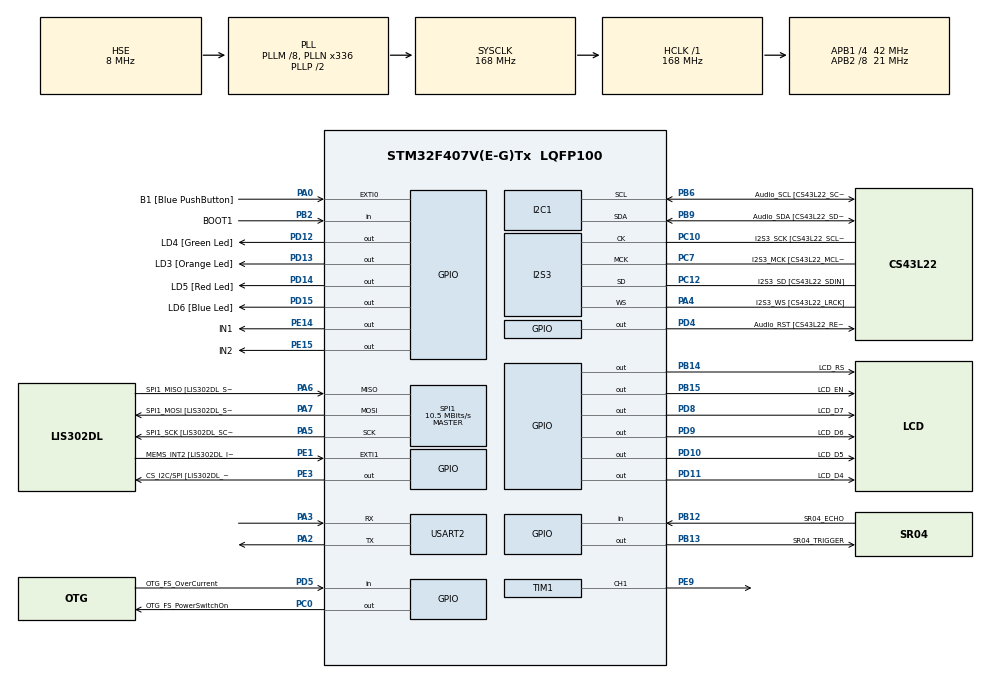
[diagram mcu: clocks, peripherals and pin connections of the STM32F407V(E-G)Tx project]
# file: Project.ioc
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I2S3.AudioFreq-Half_Duplex_Master=I2S_AUDIOFREQ_96K
I2S3.ErrorAudioFreq=-2.34 %
I2S3.ErrorAudioFreq-Half_Duplex_Master=0.8 %
I2S3.FullDuplexMode=I2S_FULLDUPLEXMODE_DISABLE
I2S3.Instance=SPI$Index
I2S3.RealAudioFreq=93.75 KHz
I2S3.RealAudioFreq-Half_Duplex_Master=96.774 KHz
I2S3.VirtualMode=I2S_MODE_MASTER
Mcu.Family=STM32F4
Mcu.Name=STM32F407V(E-G)Tx
Mcu.Package=LQFP100
NVIC.PriorityGroup=NVIC_PRIORITYGROUP_4
NVIC.TIM2_IRQn=true\:0\:0\:false\:false\:true\:false\:true
NVIC.TimeBase=TIM2_IRQn
NVIC.TimeBaseIP=TIM2
NVIC.USART2_IRQn=true\:0\:0\:false\:false\:true\:true\:true
PA0-WKUP.GPIO_Label=B1 [Blue PushButton]
PA0-WKUP.GPIO_ModeDefaultEXTI=GPIO_MODE_EVT_RISING
PA0-WKUP.GPIO_PuPd=GPIO_NOPULL
PA0-WKUP.Signal=GPXTI0
PA10.GPIO_Label=OTG_FS_ID
PA10.GPIO_Mode=GPIO_MODE_AF_PP
PA10.GPIO_PuPd=GPIO_NOPULL
PA10.GPIO_Speed=GPIO_SPEED_FREQ_LOW
PA10.Signal=USB_OTG_FS_ID
PA11.GPIO_Label=OTG_FS_DM
PA11.GPIO_Mode=GPIO_MODE_AF_PP
PA11.GPIO_PuPd=GPIO_NOPULL
PA11.GPIO_Speed=GPIO_SPEED_FREQ_LOW
PA11.Signal=USB_OTG_FS_DM
PA12.GPIO_Label=OTG_FS_DP
PA12.GPIO_Mode=GPIO_MODE_AF_PP
PA12.GPIO_PuPd=GPIO_NOPULL
PA12.GPIO_Speed=GPIO_SPEED_FREQ_LOW
PA12.Signal=USB_OTG_FS_DP
PA13.GPIO_Label=SWDIO
PA13.Mode=Serial_Wire
PA13.Signal=SYS_JTMS-SWDIO
PA14.GPIO_Label=SWCLK
PA14.Mode=Serial_Wire
PA14.Signal=SYS_JTCK-SWCLK
PA2.Mode=Asynchronous
PA2.Signal=USART2_TX
PA3.Mode=Asynchronous
PA3.Signal=USART2_RX
PA4.GPIO_Label=I2S3_WS [CS43L22_LRCK]
PA4.GPIO_Mode=GPIO_MODE_AF_PP
PA4.GPIO_PuPd=GPIO_NOPULL
PA4.GPIO_Speed=GPIO_SPEED_FREQ_LOW
PA4.Mode=Half_Duplex_Master
PA4.Signal=I2S3_WS
PA5.GPIO_Label=SPI1_SCK [LIS302DL_SCL/SPC]
PA5.GPIO_Mode=GPIO_MODE_AF_PP
PA5.GPIO_PuPd=GPIO_NOPULL
PA5.GPIO_Speed=GPIO_SPEED_FREQ_LOW
PA5.Mode=Full_Duplex_Master
PA5.Signal=SPI1_SCK
PA6.GPIO_Label=SPI1_MISO [LIS302DL_SDO]
PA6.GPIO_Mode=GPIO_MODE_AF_PP
PA6.GPIO_PuPd=GPIO_NOPULL
PA6.GPIO_Speed=GPIO_SPEED_FREQ_LOW
PA6.Mode=Full_Duplex_Master
PA6.Signal=SPI1_MISO
PA7.GPIO_Label=SPI1_MOSI [LIS302DL_SDA/SDI/SDO]
PA7.GPIO_Mode=GPIO_MODE_AF_PP
PA7.GPIO_PuPd=GPIO_NOPULL
PA7.GPIO_Speed=GPIO_SPEED_FREQ_LOW
PA7.Mode=Full_Duplex_Master
PA7.Signal=SPI1_MOSI
PA9.GPIO_Label=VBUS_FS
PA9.GPIO_Mode=GPIO_MODE_INPUT
PA9.GPIO_PuPd=GPIO_NOPULL
PA9.Signal=USB_OTG_FS_VBUS
PB10.GPIO_Label=CLK_IN [MP45DT02_CLK]
PB10.GPIO_Mode=GPIO_MODE_AF_PP
PB10.GPIO_PuPd=GPIO_NOPULL
PB10.GPIO_Speed=GPIO_SPEED_FREQ_LOW
PB10.Signal=I2S2_CK
PB12.GPIO_Label=SR04_ECHO
PB12.GPIO_PuPd=GPIO_NOPULL
PB12.Signal=GPIO_Input
PB13.GPIO_Label=SR04_TRIGGER
PB13.GPIO_PuPd=GPIO_NOPULL
PB13.GPIO_Speed=GPIO_SPEED_FREQ_HIGH
PB13.Signal=GPIO_Output
PB14.GPIO_Label=LCD_RS
PB14.Signal=GPIO_Output
PB15.GPIO_Label=LCD_EN
PB15.Signal=GPIO_Output
PB2.GPIO_Label=BOOT1
PB2.GPIO_Mode=GPIO_MODE_INPUT
PB2.GPIO_PuPd=GPIO_NOPULL
PB2.Signal=GPIO_Input
PB3.GPIO_Label=SWO
PB3.Signal=SYS_JTDO-SWO
PB6.GPIO_Label=Audio_SCL [CS43L22_SCL]
PB6.GPIO_Mode=GPIO_MODE_AF_OD
PB6.GPIO_Pu=GPIO_PULLUP
PB6.GPIO_PuPd=GPIO_NOPULL
PB6.GPIO_Speed=GPIO_SPEED_FREQ_LOW
PB6.Mode=I2C
PB6.Signal=I2C1_SCL
PB9.GPIO_Label=Audio_SDA [CS43L22_SDA]
PB9.GPIO_Mode=GPIO_MODE_AF_OD
PB9.GPIO_Pu=GPIO_PULLUP
PB9.GPIO_PuPd=GPIO_NOPULL
PB9.GPIO_Speed=GPIO_SPEED_FREQ_LOW
PB9.Mode=I2C
PB9.Signal=I2C1_SDA
PC0.GPIO_Label=OTG_FS_PowerSwitchOn
PC0.GPIO_PuPd=GPIO_NOPULL
PC0.GPIO_Speed=GPIO_SPEED_FREQ_LOW
PC0.PinState=GPIO_PIN_SET
PC0.Signal=GPIO_Output
PC10.GPIO_Label=I2S3_SCK [CS43L22_SCLK]
PC10.GPIO_Mode=GPIO_MODE_AF_PP
PC10.GPIO_PuPd=GPIO_NOPULL
PC10.GPIO_Speed=GPIO_SPEED_FREQ_LOW
PC10.Mode=Half_Duplex_Master
PC10.Signal=I2S3_CK
PC12.GPIO_Label=I2S3_SD [CS43L22_SDIN]
PC12.GPIO_Mode=GPIO_MODE_AF_PP
PC12.GPIO_PuPd=GPIO_NOPULL
PC12.GPIO_Speed=GPIO_SPEED_FREQ_LOW
PC12.Mode=Half_Duplex_Master
PC12.Signal=I2S3_SD
PC14-OSC32_IN.GPIO_Label=PC14-OSC32_IN
PC14-OSC32_IN.Mode=LSE-External-Oscillator
PC14-OSC32_IN.Signal=RCC_OSC32_IN
PC15-OSC32_OUT.GPIO_Label=PC15-OSC32_OUT
PC15-OSC32_OUT.Mode=LSE-External-Oscillator
PC15-OSC32_OUT.Signal=RCC_OSC32_OUT
PC3.GPIO_Label=PDM_OUT [MP45DT02_DOUT]
PC3.GPIO_Mode=GPIO_MODE_AF_PP
PC3.GPIO_PuPd=GPIO_NOPULL
PC3.GPIO_Speed=GPIO_SPEED_FREQ_LOW
PC3.Signal=I2S2_SD
PC7.GPIO_Label=I2S3_MCK [CS43L22_MCLK]
PC7.GPIO_Mode=GPIO_MODE_AF_PP
PC7.GPIO_PuPd=GPIO_NOPULL
PC7.GPIO_Speed=GPIO_SPEED_FREQ_LOW
PC7.Mode=Master_Clock_Activated
PC7.Signal=I2S3_MCK
PD10.GPIO_Label=LCD_D5
PD10.Signal=GPIO_Output
PD11.GPIO_Label=LCD_D4
PD11.Signal=GPIO_Output
PD12.GPIO_Label=LD4 [Green Led]
PD12.GPIO_PuPd=GPIO_NOPULL
PD12.GPIO_Speed=GPIO_SPEED_FREQ_LOW
PD12.Signal=GPIO_Output
PD13.GPIO_Label=LD3 [Orange Led]
PD13.GPIO_PuPd=GPIO_NOPULL
PD13.GPIO_Speed=GPIO_SPEED_FREQ_LOW
PD13.Signal=GPIO_Output
PD14.GPIO_Label=LD5 [Red Led]
PD14.GPIO_PuPd=GPIO_NOPULL
PD14.GPIO_Speed=GPIO_SPEED_FREQ_LOW
PD14.Signal=GPIO_Output
PD15.GPIO_Label=LD6 [Blue Led]
PD15.GPIO_PuPd=GPIO_NOPULL
PD15.GPIO_Speed=GPIO_SPEED_FREQ_LOW
PD15.Signal=GPIO_Output
PD4.GPIO_Label=Audio_RST [CS43L22_RESET]
PD4.GPIO_PuPd=GPIO_NOPULL
PD4.GPIO_Speed=GPIO_SPEED_FREQ_LOW
PD4.Signal=GPIO_Output
PD5.GPIO_Label=OTG_FS_OverCurrent
PD5.GPIO_Mode=GPIO_MODE_INPUT
PD5.GPIO_PuPd=GPIO_NOPULL
PD5.Signal=GPIO_Input
PD8.GPIO_Label=LCD_D7
PD8.Signal=GPIO_Output
PD9.GPIO_Label=LCD_D6
PD9.Signal=GPIO_Output
PE1.GPIO_Label=MEMS_INT2 [LIS302DL_INT2]
PE1.GPIO_ModeDefaultEXTI=GPIO_MODE_EVT_RISING
PE1.GPIO_PuPd=GPIO_NOPULL
PE1.Signal=GPXTI1
PE14.GPIO_Label=IN1
PE14.Signal=GPIO_Output
PE15.GPIO_Label=IN2
PE15.Signal=GPIO_Output
PE3.GPIO_Label=CS_I2C/SPI [LIS302DL_CS_I2C/SPI]
PE3.GPIO_PuPd=GPIO_NOPULL
PE3.GPIO_Speed=GPIO_SPEED_FREQ_LOW
PE3.Signal=GPIO_Output
PE9.Signal=S_TIM1_CH1
PH0-OSC_IN.GPIO_Label=PH0-OSC_IN
PH0-OSC_IN.Mode=HSE-External-Oscillator
PH0-OSC_IN.Signal=RCC_OSC_IN
PH1-OSC_OUT.GPIO_Label=PH1-OSC_OUT
PH1-OSC_OUT.Mode=HSE-External-Oscillator
PH1-OSC_OUT.Signal=RCC_OSC_OUT
ProjectManager.HeapSize=0x200
ProjectManager.StackSize=0x400
ProjectManager.TargetToolchain=STM32CubeIDE
RCC.48MHZClocksFreq_Value=48000000
RCC.AHBFreq_Value=168000000
RCC.APB1CLKDivider=RCC_HCLK_DIV4
RCC.APB1Freq_Value=42000000
RCC.APB1TimFreq_Value=84000000
RCC.APB2CLKDivider=RCC_HCLK_DIV8
RCC.APB2Freq_Value=21000000
RCC.APB2TimFreq_Value=42000000
RCC.CortexFreq_Value=168000000
RCC.HCLKFreq_Value=168000000
RCC.HSE_VALUE=8000000
RCC.HSI_VALUE=16000000
RCC.PLLM=8
RCC.PLLN=336
RCC.PLLQ=7
RCC.PLLSourceVirtual=RCC_PLLSOURCE_HSE
RCC.SYSCLKFreq_VALUE=168000000
RCC.SYSCLKSource=RCC_SYSCLKSOURCE_PLLCLK
RCC.VCOOutputFreq_Value=336000000
SH.S_TIM1_CH1.0=TIM1_CH1,PWM Generation1 CH1
SPI1.BaudRatePrescaler-Full_Duplex_Master=SPI_BAUDRATEPRESCALER_2
SPI1.CalculateBaudRate=10.5 MBits/s
SPI1.CalculateBaudRate-Full_Duplex_Master=42.0 MBits/s
SPI1.Direction=SPI_DIRECTION_2LINES
SPI1.Mode=SPI_MODE_MASTER
SPI1.Mode-Full_Duplex_Master=SPI_MODE_MASTER
SPI1.VirtualType=VM_MASTER
TIM1.Channel-PWM\ Generation1\ CH1=TIM_CHANNEL_1
TIM1.ClockDivision=TIM_CLOCKDIVISION_DIV1
TIM1.Period=100-1
TIM1.Prescaler=4200-1
TIM1.Pulse-PWM\ Generation1\ CH1=90
TIM4.Period=0xffff-1
TIM4.Prescaler=84-1
USART2.VirtualMode=VM_ASYNC
VP_SYS_VS_tim2.Mode=TIM2
VP_TIM1_VS_ClockSourceINT.Mode=Internal
VP_TIM4_VS_ClockSourceINT.Mode=Internal
board=STM32F407G-DISC1

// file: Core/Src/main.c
/* USER CODE BEGIN Header */
/**
  ******************************************************************************
  * @file           : main.c
  * @brief          : Main program body
  ******************************************************************************
  * @attention
  *
  * Copyright (c) 2022 STMicroelectronics.
  * All rights reserved.
  *
  * This software is licensed under terms that can be found in the LICENSE file
  * in the root directory of this software component.
  * If no LICENSE file comes with this software, it is provided AS-IS.
  *
  ******************************************************************************
  */
/* USER CODE END Header */
#include "main.h"

/* USER CODE BEGIN Includes */
#include "stdio.h"
#include "string.h"
#include "stdlib.h"
#include "lcd/lcd.h"
#include "delay/delay.h"
#include "sr04/sr04.h"
#include "engine/engine.h"
#include "FreeRTOS.h"
#include "task.h"
#include "queue.h"
#define USE_FULL_ASSERT
/* USER CODE END Includes */

I2C_HandleTypeDef hi2c1;

I2S_HandleTypeDef hi2s3;

SPI_HandleTypeDef hspi1;

TIM_HandleTypeDef htim1;
TIM_HandleTypeDef htim4;

UART_HandleTypeDef huart2;

/* USER CODE BEGIN PV */
//#define _USE_FREERTOS_
CLCD_Name lcd1602;
HCSR04_t sr04;
Engine_t motor;
uint8_t rx_data = 0;
#ifdef __GNUC__
int __io_putchar(int ch)
#else
int fputc(int ch, FILE *f)
#endif /* __GNUC__ */
{
    HAL_UART_Transmit(&huart2, (uint8_t*)&ch, 1, 1);
	return ch;
}
void HAL_UART_RxCpltCallback(UART_HandleTypeDef *huart);
void HAL_UART_RxCpltCallback(UART_HandleTypeDef *huart){
	HAL_UART_Receive_IT(&huart2, &rx_data, 1);
	engine_set_duty(&motor, rx_data);
}
void read_distance_task();
void printf_lcd_task();
void send_to_pc_task();

#ifdef _USE_FREERTOS_
void read_sensor_task(void *param);
void lcd_out_task(void *param);
void send_task(void *param);
void read_sensor_task(void *param){
	while(1){
		HCSR04_Read(&sr04);
		vTaskDelay(500);
	}
}
void lcd_out_task(void *param){
	char buffer[32]={0};
	while(1){
		CLCD_SetCursor(&lcd1602, 0, 0);
		sprintf(buffer,"Range=%d.%d cm   ",sr04.distance_int, sr04.distance_dec);
		CLCD_WriteString(&lcd1602, buffer);
		CLCD_SetCursor(&lcd1602, 0, 1);
		if (motor.mode == OFF || motor.speed == 0) sprintf(buffer,"MOTOR:OFF        ");
		else sprintf(buffer,"MOTOR:ON - %d    ",motor.speed);
		CLCD_WriteString(&lcd1602, buffer);
		vTaskDelay(1000);
	}
}
void send_task(void *param){
	char buffer[32]={0};
	while(1){
		sprintf(buffer,"Range=%d.%d cm\r\n",sr04.distance_int, sr04.distance_dec);
		HAL_UART_Transmit(&huart2, (uint8_t*)buffer, sizeof(buffer), 1000);
		if (motor.mode == OFF || motor.speed == 0) sprintf(buffer,"MOTOR:OFF\r\n");
		else sprintf(buffer,"MOTOR:ON - SPEED:%d %%\r\n",motor.speed);
		HAL_UART_Transmit(&huart2,(uint8_t*) buffer, sizeof(buffer), 1000);
		vTaskDelay(1000);
	}
}
#endif
/* USER CODE END PV */

void SystemClock_Config(void);
static void MX_GPIO_Init(void);
static void MX_I2C1_Init(void);
static void MX_I2S3_Init(void);
static void MX_SPI1_Init(void);
static void MX_USART2_UART_Init(void);
static void MX_TIM4_Init(void);
static void MX_TIM1_Init(void);

int main(void)
{

  /* MCU Configuration--------------------------------------------------------*/

  /* Reset of all peripherals, Initializes the Flash interface and the Systick. */
  HAL_Init();

  /* Configure the system clock */
  SystemClock_Config();

  /* Initialize all configured peripherals */
  MX_GPIO_Init();
  MX_I2C1_Init();
  MX_I2S3_Init();
  MX_SPI1_Init();
  MX_USART2_UART_Init();
  MX_TIM4_Init();
  MX_TIM1_Init();

  /* Infinite loop */
  /* USER CODE BEGIN WHILE */
  CLCD_4BIT_Init(&lcd1602, 16, 2, LCD_RS_GPIO_Port, LCD_RS_Pin,
		  	  	  	  	  	  	  LCD_EN_GPIO_Port, LCD_EN_Pin,
								  LCD_D4_GPIO_Port, LCD_D4_Pin,
								  LCD_D5_GPIO_Port, LCD_D5_Pin,
								  LCD_D6_GPIO_Port, LCD_D6_Pin,
								  LCD_D7_GPIO_Port, LCD_D7_Pin);
  CLCD_SetCursor(&lcd1602, 1, 1);
  HCSR04_Init(&sr04,SR04_ECHO_GPIO_Port, SR04_ECHO_Pin, SR04_TRIGGER_GPIO_Port, SR04_TRIGGER_Pin);
  engine_init(&motor, GPIOE, GPIO_PIN_9, IN1_GPIO_Port, IN1_Pin, IN2_GPIO_Port, IN2_Pin, 0);
  engine_start(&motor, FORWARD);
  HAL_UART_Receive_IT(&huart2, &rx_data, 1);
#ifdef _USE_FREERTOS_
  xTaskCreate(read_sensor_task, "read_sensor_task", 500, NULL, 2, NULL);
  xTaskCreate(printf_lcd_task, "printf_lcd_task", 500, NULL, 2, NULL);
  xTaskCreate(send_to_pc_task, "send_to_pc_task", 500, NULL, 2, NULL);
  vTaskStartScheduler();
#endif
  uint32_t time_task1 = HAL_GetTick();
  uint32_t time_task2 = HAL_GetTick();
  uint32_t time_task3 = HAL_GetTick();
  while (1)
  {
	if (HAL_GetTick() - time_task1 > 500){
		read_distance_task();
		time_task1 = HAL_GetTick();
	}
	if (HAL_GetTick() - time_task2 > 1000){
		printf_lcd_task();
		time_task2 = HAL_GetTick();
	}
	if (HAL_GetTick() - time_task3 > 1000){
		send_to_pc_task();
		time_task3 = HAL_GetTick();
	}
    /* USER CODE END WHILE */

  }
}

void SystemClock_Config(void)
{
  RCC_OscInitTypeDef RCC_OscInitStruct = {0};
  RCC_ClkInitTypeDef RCC_ClkInitStruct = {0};

  /** Configure the main internal regulator output voltage
  */
  __HAL_RCC_PWR_CLK_ENABLE();
  __HAL_PWR_VOLTAGESCALING_CONFIG(PWR_REGULATOR_VOLTAGE_SCALE1);
  /** Initializes the RCC Oscillators according to the specified parameters
  * in the RCC_OscInitTypeDef structure.
  */
  RCC_OscInitStruct.OscillatorType = RCC_OSCILLATORTYPE_HSE;
  RCC_OscInitStruct.HSEState = RCC_HSE_ON;
  RCC_OscInitStruct.PLL.PLLState = RCC_PLL_ON;
  RCC_OscInitStruct.PLL.PLLSource = RCC_PLLSOURCE_HSE;
  RCC_OscInitStruct.PLL.PLLM = 8;
  RCC_OscInitStruct.PLL.PLLN = 336;
  RCC_OscInitStruct.PLL.PLLP = RCC_PLLP_DIV2;
  RCC_OscInitStruct.PLL.PLLQ = 7;
  if (HAL_RCC_OscConfig(&RCC_OscInitStruct) != HAL_OK)
  {
    Error_Handler();
  }
  /** Initializes the CPU, AHB and APB buses clocks
  */
  RCC_ClkInitStruct.ClockType = RCC_CLOCKTYPE_HCLK|RCC_CLOCKTYPE_SYSCLK
                              |RCC_CLOCKTYPE_PCLK1|RCC_CLOCKTYPE_PCLK2;
  RCC_ClkInitStruct.SYSCLKSource = RCC_SYSCLKSOURCE_PLLCLK;
  RCC_ClkInitStruct.AHBCLKDivider = RCC_SYSCLK_DIV1;
  RCC_ClkInitStruct.APB1CLKDivider = RCC_HCLK_DIV4;
  RCC_ClkInitStruct.APB2CLKDivider = RCC_HCLK_DIV8;

  if (HAL_RCC_ClockConfig(&RCC_ClkInitStruct, FLASH_LATENCY_5) != HAL_OK)
  {
    Error_Handler();
  }
}

static void MX_I2C1_Init(void)
{

  hi2c1.Instance = I2C1;
  hi2c1.Init.ClockSpeed = 100000;
  hi2c1.Init.DutyCycle = I2C_DUTYCYCLE_2;
  hi2c1.Init.OwnAddress1 = 0;
  hi2c1.Init.AddressingMode = I2C_ADDRESSINGMODE_7BIT;
  hi2c1.Init.DualAddressMode = I2C_DUALADDRESS_DISABLE;
  hi2c1.Init.OwnAddress2 = 0;
  hi2c1.Init.GeneralCallMode = I2C_GENERALCALL_DISABLE;
  hi2c1.Init.NoStretchMode = I2C_NOSTRETCH_DISABLE;
  if (HAL_I2C_Init(&hi2c1) != HAL_OK)
  {
    Error_Handler();
  }

}

static void MX_I2S3_Init(void)
{

  hi2s3.Instance = SPI3;
  hi2s3.Init.Mode = I2S_MODE_MASTER_TX;
  hi2s3.Init.Standard = I2S_STANDARD_PHILIPS;
  hi2s3.Init.DataFormat = I2S_DATAFORMAT_16B;
  hi2s3.Init.MCLKOutput = I2S_MCLKOUTPUT_ENABLE;
  hi2s3.Init.AudioFreq = I2S_AUDIOFREQ_96K;
  hi2s3.Init.CPOL = I2S_CPOL_LOW;
  hi2s3.Init.ClockSource = I2S_CLOCK_PLL;
  hi2s3.Init.FullDuplexMode = I2S_FULLDUPLEXMODE_DISABLE;
  if (HAL_I2S_Init(&hi2s3) != HAL_OK)
  {
    Error_Handler();
  }

}

static void MX_SPI1_Init(void)
{

  /* SPI1 parameter configuration*/
  hspi1.Instance = SPI1;
  hspi1.Init.Mode = SPI_MODE_MASTER;
  hspi1.Init.Direction = SPI_DIRECTION_2LINES;
  hspi1.Init.DataSize = SPI_DATASIZE_8BIT;
  hspi1.Init.CLKPolarity = SPI_POLARITY_LOW;
  hspi1.Init.CLKPhase = SPI_PHASE_1EDGE;
  hspi1.Init.NSS = SPI_NSS_SOFT;
  hspi1.Init.BaudRatePrescaler = SPI_BAUDRATEPRESCALER_2;
  hspi1.Init.FirstBit = SPI_FIRSTBIT_MSB;
  hspi1.Init.TIMode = SPI_TIMODE_DISABLE;
  hspi1.Init.CRCCalculation = SPI_CRCCALCULATION_DISABLE;
  hspi1.Init.CRCPolynomial = 10;
  if (HAL_SPI_Init(&hspi1) != HAL_OK)
  {
    Error_Handler();
  }

}

static void MX_TIM1_Init(void)
{

  TIM_ClockConfigTypeDef sClockSourceConfig = {0};
  TIM_MasterConfigTypeDef sMasterConfig = {0};
  TIM_OC_InitTypeDef sConfigOC = {0};
  TIM_BreakDeadTimeConfigTypeDef sBreakDeadTimeConfig = {0};

  htim1.Instance = TIM1;
  htim1.Init.Prescaler = 4200-1;
  htim1.Init.CounterMode = TIM_COUNTERMODE_UP;
  htim1.Init.Period = 100-1;
  htim1.Init.ClockDivision = TIM_CLOCKDIVISION_DIV1;
  htim1.Init.RepetitionCounter = 0;
  htim1.Init.AutoReloadPreload = TIM_AUTORELOAD_PRELOAD_DISABLE;
  if (HAL_TIM_Base_Init(&htim1) != HAL_OK)
  {
    Error_Handler();
  }
  sClockSourceConfig.ClockSource = TIM_CLOCKSOURCE_INTERNAL;
  if (HAL_TIM_ConfigClockSource(&htim1, &sClockSourceConfig) != HAL_OK)
  {
    Error_Handler();
  }
  if (HAL_TIM_PWM_Init(&htim1) != HAL_OK)
  {
    Error_Handler();
  }
  sMasterConfig.MasterOutputTrigger = TIM_TRGO_RESET;
  sMasterConfig.MasterSlaveMode = TIM_MASTERSLAVEMODE_DISABLE;
  if (HAL_TIMEx_MasterConfigSynchronization(&htim1, &sMasterConfig) != HAL_OK)
  {
    Error_Handler();
  }
  sConfigOC.OCMode = TIM_OCMODE_PWM1;
  sConfigOC.Pulse = 90;
  sConfigOC.OCPolarity = TIM_OCPOLARITY_HIGH;
  sConfigOC.OCNPolarity = TIM_OCNPOLARITY_HIGH;
  sConfigOC.OCFastMode = TIM_OCFAST_DISABLE;
  sConfigOC.OCIdleState = TIM_OCIDLESTATE_RESET;
  sConfigOC.OCNIdleState = TIM_OCNIDLESTATE_RESET;
  if (HAL_TIM_PWM_ConfigChannel(&htim1, &sConfigOC, TIM_CHANNEL_1) != HAL_OK)
  {
    Error_Handler();
  }
  sBreakDeadTimeConfig.OffStateRunMode = TIM_OSSR_DISABLE;
  sBreakDeadTimeConfig.OffStateIDLEMode = TIM_OSSI_DISABLE;
  sBreakDeadTimeConfig.LockLevel = TIM_LOCKLEVEL_OFF;
  sBreakDeadTimeConfig.DeadTime = 0;
  sBreakDeadTimeConfig.BreakState = TIM_BREAK_DISABLE;
  sBreakDeadTimeConfig.BreakPolarity = TIM_BREAKPOLARITY_HIGH;
  sBreakDeadTimeConfig.AutomaticOutput = TIM_AUTOMATICOUTPUT_DISABLE;
  if (HAL_TIMEx_ConfigBreakDeadTime(&htim1, &sBreakDeadTimeConfig) != HAL_OK)
  {
    Error_Handler();
  }
  HAL_TIM_MspPostInit(&htim1);

}

static void MX_TIM4_Init(void)
{

  TIM_ClockConfigTypeDef sClockSourceConfig = {0};
  TIM_MasterConfigTypeDef sMasterConfig = {0};

  htim4.Instance = TIM4;
  htim4.Init.Prescaler = 84-1;
  htim4.Init.CounterMode = TIM_COUNTERMODE_UP;
  htim4.Init.Period = 0xffff-1;
  htim4.Init.ClockDivision = TIM_CLOCKDIVISION_DIV1;
  htim4.Init.AutoReloadPreload = TIM_AUTORELOAD_PRELOAD_DISABLE;
  if (HAL_TIM_Base_Init(&htim4) != HAL_OK)
  {
    Error_Handler();
  }
  sClockSourceConfig.ClockSource = TIM_CLOCKSOURCE_INTERNAL;
  if (HAL_TIM_ConfigClockSource(&htim4, &sClockSourceConfig) != HAL_OK)
  {
    Error_Handler();
  }
  sMasterConfig.MasterOutputTrigger = TIM_TRGO_RESET;
  sMasterConfig.MasterSlaveMode = TIM_MASTERSLAVEMODE_DISABLE;
  if (HAL_TIMEx_MasterConfigSynchronization(&htim4, &sMasterConfig) != HAL_OK)
  {
    Error_Handler();
  }

}

static void MX_USART2_UART_Init(void)
{

  huart2.Instance = USART2;
  huart2.Init.BaudRate = 115200;
  huart2.Init.WordLength = UART_WORDLENGTH_8B;
  huart2.Init.StopBits = UART_STOPBITS_1;
  huart2.Init.Parity = UART_PARITY_NONE;
  huart2.Init.Mode = UART_MODE_TX_RX;
  huart2.Init.HwFlowCtl = UART_HWCONTROL_NONE;
  huart2.Init.OverSampling = UART_OVERSAMPLING_16;
  if (HAL_UART_Init(&huart2) != HAL_OK)
  {
    Error_Handler();
  }

}

static void MX_GPIO_Init(void)
{
  GPIO_InitTypeDef GPIO_InitStruct = {0};

  /* GPIO Ports Clock Enable */
  __HAL_RCC_GPIOE_CLK_ENABLE();
  __HAL_RCC_GPIOC_CLK_ENABLE();
  __HAL_RCC_GPIOH_CLK_ENABLE();
  __HAL_RCC_GPIOA_CLK_ENABLE();
  __HAL_RCC_GPIOB_CLK_ENABLE();
  __HAL_RCC_GPIOD_CLK_ENABLE();

  /*Configure GPIO pin Output Level */
  HAL_GPIO_WritePin(GPIOE, CS_I2C_SPI_Pin|IN1_Pin|IN2_Pin, GPIO_PIN_RESET);

  /*Configure GPIO pin Output Level */
  HAL_GPIO_WritePin(OTG_FS_PowerSwitchOn_GPIO_Port, OTG_FS_PowerSwitchOn_Pin, GPIO_PIN_SET);

  /*Configure GPIO pin Output Level */
  HAL_GPIO_WritePin(GPIOB, SR04_TRIGGER_Pin|LCD_RS_Pin|LCD_EN_Pin, GPIO_PIN_RESET);

  /*Configure GPIO pin Output Level */
  HAL_GPIO_WritePin(GPIOD, LCD_D7_Pin|LCD_D6_Pin|LCD_D5_Pin|LCD_D4_Pin
                          |LD4_Pin|LD3_Pin|LD5_Pin|LD6_Pin
                          |Audio_RST_Pin, GPIO_PIN_RESET);

  /*Configure GPIO pins : CS_I2C_SPI_Pin IN1_Pin IN2_Pin */
  GPIO_InitStruct.Pin = CS_I2C_SPI_Pin|IN1_Pin|IN2_Pin;
  GPIO_InitStruct.Mode = GPIO_MODE_OUTPUT_PP;
  GPIO_InitStruct.Pull = GPIO_NOPULL;
  GPIO_InitStruct.Speed = GPIO_SPEED_FREQ_LOW;
  HAL_GPIO_Init(GPIOE, &GPIO_InitStruct);

  /*Configure GPIO pin : OTG_FS_PowerSwitchOn_Pin */
  GPIO_InitStruct.Pin = OTG_FS_PowerSwitchOn_Pin;
  GPIO_InitStruct.Mode = GPIO_MODE_OUTPUT_PP;
  GPIO_InitStruct.Pull = GPIO_NOPULL;
  GPIO_InitStruct.Speed = GPIO_SPEED_FREQ_LOW;
  HAL_GPIO_Init(OTG_FS_PowerSwitchOn_GPIO_Port, &GPIO_InitStruct);

  /*Configure GPIO pin : PDM_OUT_Pin */
  GPIO_InitStruct.Pin = PDM_OUT_Pin;
  GPIO_InitStruct.Mode = GPIO_MODE_AF_PP;
  GPIO_InitStruct.Pull = GPIO_NOPULL;
  GPIO_InitStruct.Speed = GPIO_SPEED_FREQ_LOW;
  GPIO_InitStruct.Alternate = GPIO_AF5_SPI2;
  HAL_GPIO_Init(PDM_OUT_GPIO_Port, &GPIO_InitStruct);

  /*Configure GPIO pin : B1_Pin */
  GPIO_InitStruct.Pin = B1_Pin;
  GPIO_InitStruct.Mode = GPIO_MODE_EVT_RISING;
  GPIO_InitStruct.Pull = GPIO_NOPULL;
  HAL_GPIO_Init(B1_GPIO_Port, &GPIO_InitStruct);

  /*Configure GPIO pins : BOOT1_Pin SR04_ECHO_Pin */
  GPIO_InitStruct.Pin = BOOT1_Pin|SR04_ECHO_Pin;
  GPIO_InitStruct.Mode = GPIO_MODE_INPUT;
  GPIO_InitStruct.Pull = GPIO_NOPULL;
  HAL_GPIO_Init(GPIOB, &GPIO_InitStruct);

  /*Configure GPIO pin : CLK_IN_Pin */
  GPIO_InitStruct.Pin = CLK_IN_Pin;
  GPIO_InitStruct.Mode = GPIO_MODE_AF_PP;
  GPIO_InitStruct.Pull = GPIO_NOPULL;
  GPIO_InitStruct.Speed = GPIO_SPEED_FREQ_LOW;
  GPIO_InitStruct.Alternate = GPIO_AF5_SPI2;
  HAL_GPIO_Init(CLK_IN_GPIO_Port, &GPIO_InitStruct);

  /*Configure GPIO pin : SR04_TRIGGER_Pin */
  GPIO_InitStruct.Pin = SR04_TRIGGER_Pin;
  GPIO_InitStruct.Mode = GPIO_MODE_OUTPUT_PP;
  GPIO_InitStruct.Pull = GPIO_NOPULL;
  GPIO_InitStruct.Speed = GPIO_SPEED_FREQ_HIGH;
  HAL_GPIO_Init(SR04_TRIGGER_GPIO_Port, &GPIO_InitStruct);

  /*Configure GPIO pins : LCD_RS_Pin LCD_EN_Pin */
  GPIO_InitStruct.Pin = LCD_RS_Pin|LCD_EN_Pin;
  GPIO_InitStruct.Mode = GPIO_MODE_OUTPUT_PP;
  GPIO_InitStruct.Pull = GPIO_NOPULL;
  GPIO_InitStruct.Speed = GPIO_SPEED_FREQ_LOW;
  HAL_GPIO_Init(GPIOB, &GPIO_InitStruct);

  /*Configure GPIO pins : LCD_D7_Pin LCD_D6_Pin LCD_D5_Pin LCD_D4_Pin
                           LD4_Pin LD3_Pin LD5_Pin LD6_Pin
                           Audio_RST_Pin */
  GPIO_InitStruct.Pin = LCD_D7_Pin|LCD_D6_Pin|LCD_D5_Pin|LCD_D4_Pin
                          |LD4_Pin|LD3_Pin|LD5_Pin|LD6_Pin
                          |Audio_RST_Pin;
  GPIO_InitStruct.Mode = GPIO_MODE_OUTPUT_PP;
  GPIO_InitStruct.Pull = GPIO_NOPULL;
  GPIO_InitStruct.Speed = GPIO_SPEED_FREQ_LOW;
  HAL_GPIO_Init(GPIOD, &GPIO_InitStruct);

  /*Configure GPIO pin : VBUS_FS_Pin */
  GPIO_InitStruct.Pin = VBUS_FS_Pin;
  GPIO_InitStruct.Mode = GPIO_MODE_INPUT;
  GPIO_InitStruct.Pull = GPIO_NOPULL;
  HAL_GPIO_Init(VBUS_FS_GPIO_Port, &GPIO_InitStruct);

  /*Configure GPIO pins : OTG_FS_ID_Pin OTG_FS_DM_Pin OTG_FS_DP_Pin */
  GPIO_InitStruct.Pin = OTG_FS_ID_Pin|OTG_FS_DM_Pin|OTG_FS_DP_Pin;
  GPIO_InitStruct.Mode = GPIO_MODE_AF_PP;
  GPIO_InitStruct.Pull = GPIO_NOPULL;
  GPIO_InitStruct.Speed = GPIO_SPEED_FREQ_LOW;
  GPIO_InitStruct.Alternate = GPIO_AF10_OTG_FS;
  HAL_GPIO_Init(GPIOA, &GPIO_InitStruct);

  /*Configure GPIO pin : OTG_FS_OverCurrent_Pin */
  GPIO_InitStruct.Pin = OTG_FS_OverCurrent_Pin;
  GPIO_InitStruct.Mode = GPIO_MODE_INPUT;
  GPIO_InitStruct.Pull = GPIO_NOPULL;
  HAL_GPIO_Init(OTG_FS_OverCurrent_GPIO_Port, &GPIO_InitStruct);

  /*Configure GPIO pin : MEMS_INT2_Pin */
  GPIO_InitStruct.Pin = MEMS_INT2_Pin;
  GPIO_InitStruct.Mode = GPIO_MODE_EVT_RISING;
  GPIO_InitStruct.Pull = GPIO_NOPULL;
  HAL_GPIO_Init(MEMS_INT2_GPIO_Port, &GPIO_InitStruct);

}

/* USER CODE BEGIN 4 */
void read_distance_task(){
	HCSR04_Read(&sr04);
}
void printf_lcd_task(){
	char buffer[32]={0};
	CLCD_SetCursor(&lcd1602, 0, 0);
	sprintf(buffer,"Range=%d.%d cm   ",sr04.distance_int, sr04.distance_dec);
	CLCD_WriteString(&lcd1602, buffer);
	CLCD_SetCursor(&lcd1602, 0, 1);
	if (motor.mode == OFF || motor.speed == 0) sprintf(buffer,"MOTOR:OFF        ");
	else sprintf(buffer,"MOTOR:ON - %d    ",motor.speed);
	CLCD_WriteString(&lcd1602, buffer);
}
void send_to_pc_task(){
	char buffer[32]={0};
	sprintf(buffer,"Range=%d.%d cm\r\n",sr04.distance_int, sr04.distance_dec);
	HAL_UART_Transmit(&huart2, (uint8_t*)buffer, sizeof(buffer), 1000);
	if (motor.mode == OFF || motor.speed == 0) sprintf(buffer,"MOTOR:OFF\r\n");
	else sprintf(buffer,"MOTOR:ON - SPEED:%d %%\r\n",motor.speed);
	HAL_UART_Transmit(&huart2,(uint8_t*) buffer, sizeof(buffer), 1000);
}
/* USER CODE END 4 */

void HAL_TIM_PeriodElapsedCallback(TIM_HandleTypeDef *htim)
{
  if (htim->Instance == TIM2) {
    HAL_IncTick();
  }
}

void Error_Handler(void)
{
  __disable_irq();
  while (1)
  {
  }
}
